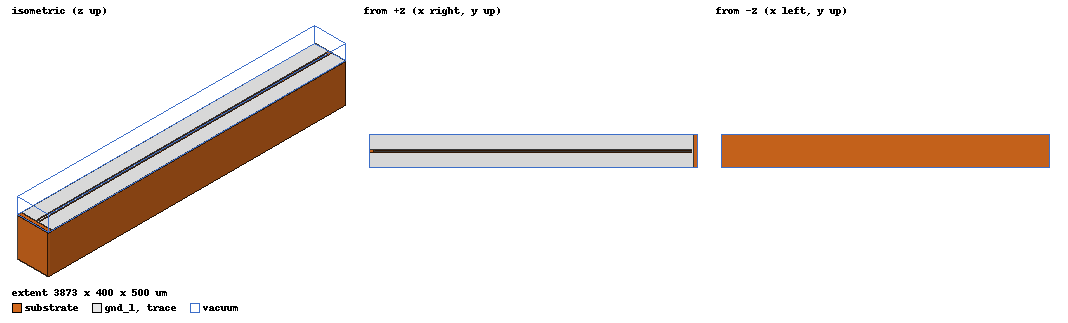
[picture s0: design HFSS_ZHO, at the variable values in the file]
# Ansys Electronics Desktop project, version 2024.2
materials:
  vacuum: permittivity=1
  silicon_er1145: permittivity=11.45 permeability=1

design HFSS_ZHO (HFSS, Eigenmode, model units um)
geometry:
  substrate [silicon_er1145] = box(corner=(-1936.295um, -200um, -500um), size=(3872.59um, 400um, 500um))
  vacuum [vacuum] = box(corner=(-1936.295um, -200um, 0um), size=(3872.59um, 400um, 200um))
  trace = polyline(z=0um, xy in um: (-1886.295, -10) (1866.295, -10) (1866.295, 10) (-1886.295, 10) (-1886.295, -10), closed, covered)
  gnd_l = polyline(z=0um, xy in um: (-1936.295, -200) (1886.295, -200) (1886.295, -21.5) (-1936.295, -21.5) (-1936.295, -200), closed, covered)
  gnd_r = polyline(z=0um, xy in um: (-1936.295, 21.5) (1886.295, 21.5) (1886.295, 200) (-1936.295, 200) (-1936.295, 21.5), closed, covered)
  short_bridge = polyline(z=0um, xy in um: (1866.295, -21.5) (1886.295, -21.5) (1886.295, 21.5) (1866.295, 21.5) (1866.295, -21.5), closed, covered)
  gnd_l.unite(gnd_r, short_bridge)
  portsheet = polyline(z=0um, xy in um: (-1886.295, 10) (-1876.295, 10) (-1876.295, 21.5) (-1886.295, 21.5) (-1886.295, 10), closed, covered)
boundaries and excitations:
  PerfE_signal: Perfect E Objects=trace
  PerfE_gnd: Perfect E Objects=gnd_l
  PerfE_backplane: Perfect E Faces=substrate.face(-z)
  lumpedR: Lumped RLC Objects=portsheet CurrentLine{(-1881.295, 10, 0) -> (-1881.295, 21.5, 0)} RLC_Type=Parallel Resistance=5000000ohm
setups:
  Eig: HfssEigen MinimumFrequency=6GHz NumModes=1 MaxDeltaFreq=0.02 ConvergeOnRealFreq=true MaximumPasses=26 MinimumPasses=16 MinimumConvergedPasses=2 PercentRefinement=30 BasisOrder=1
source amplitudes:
  #-10:1: 1 0deg
